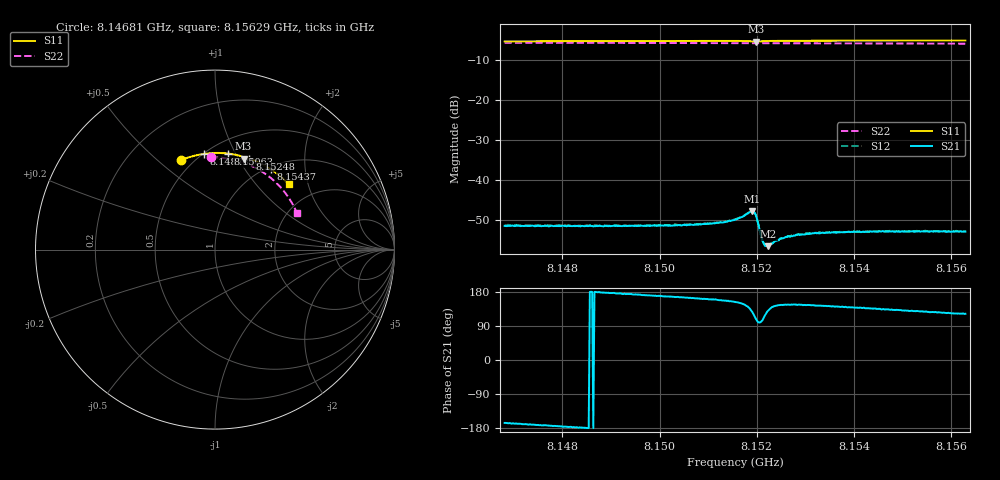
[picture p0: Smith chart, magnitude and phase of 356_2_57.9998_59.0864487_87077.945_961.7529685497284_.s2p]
#  HZ  S  RI  R  50.00
! Rohde & Schwarz Vector Network Analyzer
! Rohde-Schwarz,ZNB20-2Port,1311601062101988,3.16
! Created: UTC 3/21/2024, 1:06:13 AM
! freq[Hz]  re:S11  im:S11  re:S21  im:S21  re:S12  im:S12  re:S22  im:S22
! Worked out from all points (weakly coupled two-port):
!   401 points, 8.14681 GHz to 8.15629 GHz, reference 50 ohm
!   highest |S21| = -47.94 dB at 8.15191 GHz (marker M1); lowest = -56.7 dB at 8.15224 GHz (marker M2)
!   lowest |S11| = -5.5 dB at 8.15198 GHz (marker M3), VSWR 3.26, Z = 37.3 + j52.5 ohm
!   |S11| at or under -10 dB: nowhere
!   |S22| runs from -6.0 to -5.8 dB; largest |S21 - S12| = 0.00013
!   S11 on the Smith chart (normalised r, x): 8.14681 GHz: 0.43, +0.60; 8.14873 GHz: 0.50, +0.76; 8.15063 GHz: 0.62, +0.93; 8.15248 GHz: 0.77, +1.11; 8.15437 GHz: 1.04, +1.33; 8.15629 GHz: 1.46, +1.51
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8.146812e9  -0.1896 0.4985  -0.00255 -0.000635  -0.0026 -0.000587  -0.0226 0.5132
8.1484e9  -0.0833 0.5298  -0.00264 -7.41e-05  -0.00267 -1.91e-05  0.0807 0.5055
8.148732e9  -0.0605 0.5335  -0.00261 5.94e-05  -0.00263 9.11e-05  0.1018 0.5011
8.149989e9  0.0268 0.5384  -0.00262 0.000488  -0.00261 0.000566  0.1792 0.4771
8.150629e9  0.0714 0.5353  -0.00261 0.000736  -0.00264 0.000803  0.2168 0.4604
8.151245e9  0.1145 0.5286  -0.00268 0.00108  -0.00271 0.00113  0.2513 0.4412
8.151553e9  0.1363 0.5231  -0.0028 0.00142  -0.00284 0.00145  0.2681 0.4309
8.151861e9  0.1582 0.5122  -0.00278 0.00278  -0.00275 0.00286  0.2841 0.4195
8.151909e9  0.1599 0.5088  -0.0024 0.00321  -0.00235 0.00327  0.2867 0.4176
8.151956e9  0.1599 0.5062  -0.00165 0.00348  -0.00158 0.00349  0.2888 0.4159
8.15198e9  0.1594 0.5058  -0.0012 0.00341  -0.00116 0.00343  0.29 0.415
8.152004e9  0.1591 0.506  -0.000799 0.00315  -0.000736 0.0032  0.291 0.4141
8.152098e9  0.1621 0.51  -0.000396 0.00183  -0.000384 0.00184  0.2957 0.4108
8.152122e9  0.1638 0.5106  -0.000455 0.00163  -0.000458 0.00164  0.2971 0.4099
8.152169e9  0.1675 0.5112  -0.000692 0.00131  -0.000672 0.00136  0.2995 0.4082
8.152241e9  0.1735 0.5111  -0.000962 0.00111  -0.000976 0.00112  0.3032 0.4055
8.152478e9  0.1912 0.5072  -0.00148 0.00104  -0.00148 0.00109  0.3149 0.3958
8.152762e9  0.2107 0.5004  -0.00167 0.0011  -0.00167 0.00114  0.3285 0.3841
8.153141e9  0.2354 0.49  -0.00174 0.00123  -0.0017 0.00125  0.3459 0.3678
8.154374e9  0.3102 0.4487  -0.00159 0.00155  -0.00161 0.00158  0.3966 0.3091
8.15473e9  0.3303 0.4347  -0.00152 0.00164  -0.00152 0.00169  0.4093 0.2908
8.156294e9  0.4105 0.3629  -0.00118 0.00189  -0.00118 0.00192  0.4551 0.2053
